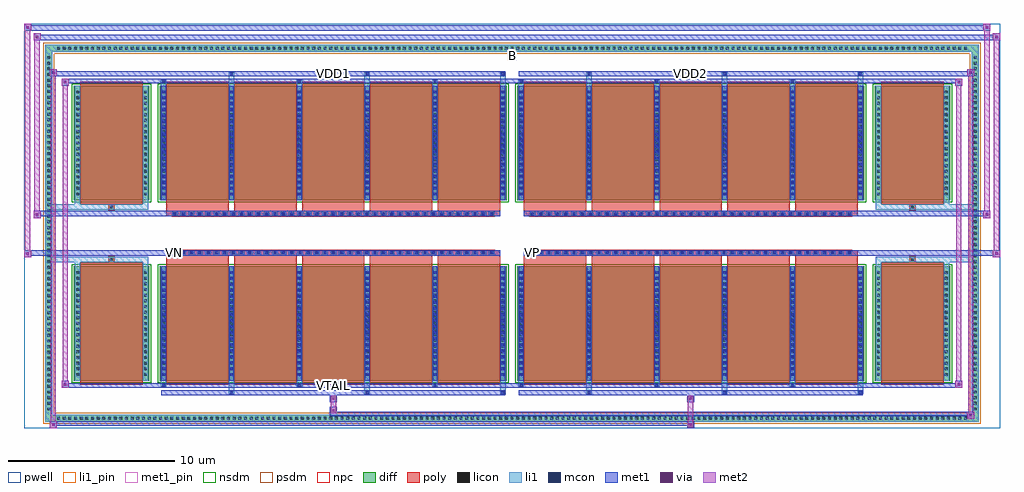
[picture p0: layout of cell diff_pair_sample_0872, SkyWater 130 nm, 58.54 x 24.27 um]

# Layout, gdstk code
import gdstk
lib = gdstk.Library(unit=1e-6, precision=5e-09)
def R(c, l, rs):  # rectangles x0, y0, x1, y1
    for r in rs: c.add(gdstk.rectangle(r[:2], r[2:], *l))
def A(c, l, x, y, w, h, nx, ny, dx, dy):  # array of equal rectangles
    R(c, l, [(x+i*dx, y+j*dy, x+i*dx+w, y+j*dy+h) for i in range(nx) for j in range(ny)])
def P(c, l, *ps):  # polygons
    for p in ps: c.add(gdstk.Polygon(p, *l))
pwell = (64, 44)
diff = (65, 20)
poly = (66, 20)
licon = (66, 44)
li1_pin = (67, 16)
li1 = (67, 20)
mcon = (67, 44)
met1_pin = (68, 16)
met1 = (68, 20)
via = (68, 44)
met2 = (69, 20)
nsdm = (93, 44)
psdm = (94, 20)
npc = (95, 20)

diff_pair_sample_0872 = lib.new_cell('diff_pair_sample_0872')
R(diff_pair_sample_0872, pwell, [(-29.27,-11.7,29.27,12.57), (-26.59,-9.89,-0.01,-0.805), (0.01,-9.89,26.59,-0.805), (-26.59,0.805,-0.01,9.89), (0.01,0.805,26.59,9.89)])
A(diff_pair_sample_0872, diff, -27.405, -11.3, 0.41, 0.41, 161, 2, 0.34, 22.19)
A(diff_pair_sample_0872, diff, -28, -10.745, 0.41, 0.41, 1, 63, 0, 0.34)
A(diff_pair_sample_0872, diff, 27.59, -10.745, 0.41, 0.41, 1, 63, 0, 0.34)
R(diff_pair_sample_0872, diff, [(-27.405,-11.3,27.405,-10.89), (-28,-10.745,-27.59,10.745), (27.59,-10.745,28,10.745), (-26.28,-8.845,-21.76,-1.985), (-21.12,-8.845,-0.32,-1.985), (0.32,-8.845,21.12,-1.985), (21.76,-8.845,26.28,-1.985), (-26.28,1.985,-21.76,8.845), (-21.12,1.985,-0.32,8.845), (0.32,1.985,21.12,8.845), (21.76,1.985,26.28,8.845), (-27.405,10.89,27.405,11.3)])
P(diff_pair_sample_0872, diff, [(28,11.3),(-28,11.3),(-28,-10.89),(-27.59,-10.89),(-27.59,10.89),(27.59,10.89),(27.59,-10.89),(-27.59,-10.89),(-28,-10.89),(-28,-11.3),(28,-11.3)])
A(diff_pair_sample_0872, poly, -20.73, -9.095, 3.74, 7.36, 5, 2, 4.07, 10.83)
A(diff_pair_sample_0872, poly, 0.71, -9.095, 3.74, 7.36, 5, 2, 4.07, 10.83)
A(diff_pair_sample_0872, poly, -20.73, -1.735, 3.74, 0.4, 5, 2, 4.07, 3.07)
A(diff_pair_sample_0872, poly, 0.71, -1.735, 3.74, 0.4, 5, 2, 4.07, 3.07)
A(diff_pair_sample_0872, poly, -20.385, -1.335, 0.33, 0.33, 39, 2, 0.5, 2.34)
A(diff_pair_sample_0872, poly, 1.055, -1.335, 0.33, 0.33, 39, 2, 0.5, 2.34)
R(diff_pair_sample_0872, poly, [(-25.89,-9.095,-22.15,-1.735), (22.15,-9.095,25.89,-1.735), (-24.185,-1.735,-23.855,-1.405), (-24.185,-1.735,-23.855,-1.405), (23.855,-1.735,24.185,-1.405), (23.855,-1.735,24.185,-1.405), (-20.73,-1.335,-0.71,-1.005), (0.71,-1.335,20.73,-1.005), (-20.73,1.005,-0.71,1.335), (0.71,1.005,20.73,1.335), (-24.185,1.405,-23.855,1.735), (-24.185,1.405,-23.855,1.735), (23.855,1.405,24.185,1.735), (23.855,1.405,24.185,1.735), (-25.89,1.735,-22.15,9.095), (22.15,1.735,25.89,9.095)])
A(diff_pair_sample_0872, licon, -27.285, -11.18, 0.17, 0.17, 161, 2, 0.34, 22.19)
A(diff_pair_sample_0872, licon, -27.88, -10.625, 0.17, 0.17, 1, 63, 0, 0.34)
A(diff_pair_sample_0872, licon, 27.71, -10.625, 0.17, 0.17, 1, 63, 0, 0.34)
A(diff_pair_sample_0872, licon, -26.14, -8.56, 0.17, 0.17, 1, 19, 0, 0.34)
A(diff_pair_sample_0872, licon, -22.07, -8.56, 0.17, 0.17, 1, 19, 0, 0.34)
A(diff_pair_sample_0872, licon, -20.98, -8.56, 0.17, 0.17, 6, 19, 4.07, 0.34)
A(diff_pair_sample_0872, licon, 0.46, -8.56, 0.17, 0.17, 6, 19, 4.07, 0.34)
A(diff_pair_sample_0872, licon, 21.9, -8.56, 0.17, 0.17, 1, 19, 0, 0.34)
A(diff_pair_sample_0872, licon, 25.97, -8.56, 0.17, 0.17, 1, 19, 0, 0.34)
A(diff_pair_sample_0872, licon, -20.305, -1.255, 0.17, 0.17, 39, 2, 0.5, 2.34)
A(diff_pair_sample_0872, licon, 1.135, -1.255, 0.17, 0.17, 39, 2, 0.5, 2.34)
A(diff_pair_sample_0872, licon, -26.14, 2.27, 0.17, 0.17, 1, 19, 0, 0.34)
A(diff_pair_sample_0872, licon, -22.07, 2.27, 0.17, 0.17, 1, 19, 0, 0.34)
A(diff_pair_sample_0872, licon, -20.98, 2.27, 0.17, 0.17, 6, 19, 4.07, 0.34)
A(diff_pair_sample_0872, licon, 0.46, 2.27, 0.17, 0.17, 6, 19, 4.07, 0.34)
A(diff_pair_sample_0872, licon, 21.9, 2.27, 0.17, 0.17, 1, 19, 0, 0.34)
A(diff_pair_sample_0872, licon, 25.97, 2.27, 0.17, 0.17, 1, 19, 0, 0.34)
R(diff_pair_sample_0872, licon, [(-24.105,-1.655,-23.935,-1.485), (23.935,-1.655,24.105,-1.485), (-24.105,1.485,-23.935,1.655), (23.935,1.485,24.105,1.655)])
R(diff_pair_sample_0872, li1_pin, [(-0.25,10.39,0.25,10.89)])
A(diff_pair_sample_0872, li1, -27.365, -11.26, 0.33, 0.33, 161, 2, 0.34, 22.19)
A(diff_pair_sample_0872, li1, -27.96, -10.705, 0.33, 0.33, 1, 63, 0, 0.34)
A(diff_pair_sample_0872, li1, 27.63, -10.705, 0.33, 0.33, 1, 63, 0, 0.34)
A(diff_pair_sample_0872, li1, -16.99, -9.65, 0.33, 0.805, 3, 2, 8.14, 18.495)
A(diff_pair_sample_0872, li1, -16.91, -9.65, 0.17, 0.17, 3, 2, 8.14, 19.13)
A(diff_pair_sample_0872, li1, 4.45, -9.65, 0.33, 0.805, 3, 2, 8.14, 18.495)
A(diff_pair_sample_0872, li1, 4.53, -9.65, 0.17, 0.17, 3, 2, 8.14, 19.13)
A(diff_pair_sample_0872, li1, -21.06, -9.22, 0.33, 0.375, 3, 2, 8.14, 18.065)
A(diff_pair_sample_0872, li1, -20.98, -9.22, 0.17, 0.17, 3, 2, 8.14, 18.27)
A(diff_pair_sample_0872, li1, 0.38, -9.22, 0.33, 0.375, 3, 2, 8.14, 18.065)
A(diff_pair_sample_0872, li1, 0.46, -9.22, 0.17, 0.17, 3, 2, 8.14, 18.27)
A(diff_pair_sample_0872, li1, -21.06, -8.845, 0.33, 6.86, 6, 2, 4.07, 10.83)
A(diff_pair_sample_0872, li1, 0.38, -8.845, 0.33, 6.86, 6, 2, 4.07, 10.83)
A(diff_pair_sample_0872, li1, -26.22, -8.64, 0.33, 0.33, 1, 19, 0, 0.34)
A(diff_pair_sample_0872, li1, -22.15, -8.64, 0.33, 0.33, 1, 19, 0, 0.34)
A(diff_pair_sample_0872, li1, -21.06, -8.64, 0.33, 0.33, 6, 19, 4.07, 0.34)
A(diff_pair_sample_0872, li1, 0.38, -8.64, 0.33, 0.33, 6, 19, 4.07, 0.34)
A(diff_pair_sample_0872, li1, 21.82, -8.64, 0.33, 0.33, 1, 19, 0, 0.34)
A(diff_pair_sample_0872, li1, 25.89, -8.64, 0.33, 0.33, 1, 19, 0, 0.34)
A(diff_pair_sample_0872, li1, -20.98, -8.56, 0.17, 0.17, 6, 18, 4.07, 0.36)
A(diff_pair_sample_0872, li1, -20.98, -8.56, 0.17, 6.29, 6, 2, 4.07, 10.83)
A(diff_pair_sample_0872, li1, 0.46, -8.56, 0.17, 0.17, 6, 18, 4.07, 0.36)
A(diff_pair_sample_0872, li1, 0.46, -8.56, 0.17, 6.29, 6, 2, 4.07, 10.83)
A(diff_pair_sample_0872, li1, -20.385, -1.335, 0.33, 0.33, 39, 2, 0.5, 2.34)
A(diff_pair_sample_0872, li1, 1.055, -1.335, 0.33, 0.33, 39, 2, 0.5, 2.34)
A(diff_pair_sample_0872, li1, -26.22, 2.19, 0.33, 0.33, 1, 19, 0, 0.34)
A(diff_pair_sample_0872, li1, -22.15, 2.19, 0.33, 0.33, 1, 19, 0, 0.34)
A(diff_pair_sample_0872, li1, -21.06, 2.19, 0.33, 0.33, 6, 19, 4.07, 0.34)
A(diff_pair_sample_0872, li1, 0.38, 2.19, 0.33, 0.33, 6, 19, 4.07, 0.34)
A(diff_pair_sample_0872, li1, 21.82, 2.19, 0.33, 0.33, 1, 19, 0, 0.34)
A(diff_pair_sample_0872, li1, 25.89, 2.19, 0.33, 0.33, 1, 19, 0, 0.34)
A(diff_pair_sample_0872, li1, -20.98, 2.27, 0.17, 0.17, 6, 18, 4.07, 0.36)
A(diff_pair_sample_0872, li1, 0.46, 2.27, 0.17, 0.17, 6, 18, 4.07, 0.36)
R(diff_pair_sample_0872, li1, [(-28,-11.3,-27.59,-10.89), (-28,-11.3,-27.59,-10.89), (-27.59,-11.3,27.59,-10.89), (27.59,-11.3,28,-10.89), (27.59,-11.3,28,-10.89), (-28,-10.89,-27.59,10.89), (27.59,-10.89,28,10.89), (-26.22,-8.845,-25.89,-1.985), (-22.15,-8.845,-21.82,-1.985), (21.82,-8.845,22.15,-1.985), (25.89,-8.845,26.22,-1.985), (-26.22,-1.985,-25.89,-1.405), (-22.15,-1.985,-21.82,-1.405), (21.82,-1.985,22.15,-1.405), (25.89,-1.985,26.22,-1.405), (-28,-1.735,-24.185,-1.405), (-26.22,-1.735,-24.185,-1.405), (-24.185,-1.735,-23.855,-1.405), (-23.855,-1.735,-21.82,-1.405), (21.82,-1.735,23.855,-1.405), (23.855,-1.735,24.185,-1.405), (23.855,-1.735,28,-1.405), (24.185,-1.735,26.22,-1.405), (-28,1.405,-24.185,1.735), (-26.22,1.405,-24.185,1.735), (-26.22,1.405,-25.89,1.985), (-24.185,1.405,-23.855,1.735), (-23.855,1.405,-21.82,1.735), (-22.15,1.405,-21.82,1.985), (21.82,1.405,23.855,1.735), (21.82,1.405,22.15,1.985), (23.855,1.405,24.185,1.735), (23.855,1.405,28,1.735), (24.185,1.405,26.22,1.735), (25.89,1.405,26.22,1.985), (-26.22,1.985,-25.89,8.845), (-22.15,1.985,-21.82,8.845), (21.82,1.985,22.15,8.845), (25.89,1.985,26.22,8.845), (-28,10.89,-27.59,11.3), (-28,10.89,-27.59,11.3), (-27.59,10.89,27.59,11.3), (27.59,10.89,28,11.3), (27.59,10.89,28,11.3)])
A(diff_pair_sample_0872, mcon, -16.91, -9.65, 0.17, 0.17, 3, 2, 8.14, 19.13)
A(diff_pair_sample_0872, mcon, 4.53, -9.65, 0.17, 0.17, 3, 2, 8.14, 19.13)
A(diff_pair_sample_0872, mcon, -20.98, -9.22, 0.17, 0.17, 3, 2, 8.14, 18.27)
A(diff_pair_sample_0872, mcon, 0.46, -9.22, 0.17, 0.17, 3, 2, 8.14, 18.27)
A(diff_pair_sample_0872, mcon, -20.98, -8.56, 0.17, 0.17, 6, 18, 4.07, 0.36)
A(diff_pair_sample_0872, mcon, 0.46, -8.56, 0.17, 0.17, 6, 18, 4.07, 0.36)
A(diff_pair_sample_0872, mcon, -20.305, -1.255, 0.17, 0.17, 39, 2, 0.5, 2.34)
A(diff_pair_sample_0872, mcon, 1.135, -1.255, 0.17, 0.17, 39, 2, 0.5, 2.34)
A(diff_pair_sample_0872, mcon, -20.98, 2.27, 0.17, 0.17, 6, 18, 4.07, 0.36)
A(diff_pair_sample_0872, mcon, 0.46, 2.27, 0.17, 0.17, 6, 18, 4.07, 0.36)
R(diff_pair_sample_0872, met1_pin, [(-10.855,-9.26,-10.585,-8.99), (-20.355,-1.295,-20.085,-1.025), (1.085,-1.295,1.355,-1.025), (-10.855,9.44,-10.585,9.71), (10.585,9.44,10.855,9.71)])
A(diff_pair_sample_0872, met1, -16.97, -9.71, 0.29, 0.29, 3, 2, 8.14, 19.13)
A(diff_pair_sample_0872, met1, 4.47, -9.71, 0.29, 0.29, 3, 2, 8.14, 19.13)
A(diff_pair_sample_0872, met1, -21.04, -9.28, 0.29, 0.29, 3, 2, 8.14, 18.27)
A(diff_pair_sample_0872, met1, 0.4, -9.28, 0.29, 0.29, 3, 2, 8.14, 18.27)
A(diff_pair_sample_0872, met1, -21.04, -8.845, 0.29, 6.86, 6, 2, 4.07, 10.83)
A(diff_pair_sample_0872, met1, 0.4, -8.845, 0.29, 6.86, 6, 2, 4.07, 10.83)
A(diff_pair_sample_0872, met1, -21.04, -8.62, 0.29, 0.29, 6, 18, 4.07, 0.36)
A(diff_pair_sample_0872, met1, 0.4, -8.62, 0.29, 0.29, 6, 18, 4.07, 0.36)
A(diff_pair_sample_0872, met1, -20.365, -1.315, 0.29, 0.29, 39, 2, 0.5, 2.34)
A(diff_pair_sample_0872, met1, 1.075, -1.315, 0.29, 0.29, 39, 2, 0.5, 2.34)
A(diff_pair_sample_0872, met1, -21.04, 2.21, 0.29, 0.29, 6, 18, 4.07, 0.36)
A(diff_pair_sample_0872, met1, 0.4, 2.21, 0.29, 0.29, 6, 18, 4.07, 0.36)
R(diff_pair_sample_0872, met1, [(-27.73,-11.7,-27.3,-11.27), (10.505,-11.7,10.935,-11.27), (-27.73,-11.56,10.935,-11.27), (27.3,-11.13,27.73,-10.7), (-10.935,-10.99,27.73,-10.7), (-10.935,-10.85,-10.505,-10.42), (-10.935,-10.14,-10.505,-9.71), (10.505,-10.14,10.935,-9.71), (-21.04,-9.71,-0.4,-9.42), (0.4,-9.71,21.04,-9.42), (-27.02,-9.28,-26.59,-8.85), (-27.02,-9.28,-21.04,-8.99), (-21.04,-9.28,-0.4,-8.99), (-0.4,-9.28,0.4,-8.99), (0.4,-9.28,21.04,-8.99), (21.04,-9.28,27.02,-8.99), (26.59,-9.28,27.02,-8.85), (-29.27,-1.435,-28.84,-1.005), (28.84,-1.435,29.27,-1.005), (-29.27,-1.335,-0.71,-1.005), (-20.73,-1.335,-0.71,-1.005), (0.71,-1.335,20.73,-1.005), (0.71,-1.335,29.27,-1.005), (-28.7,0.905,-28.27,1.335), (28.27,0.905,28.7,1.335), (-28.7,1.005,-20.73,1.335), (-20.73,1.005,-0.71,1.335), (0.71,1.005,20.73,1.335), (20.73,1.005,28.7,1.335), (-27.02,8.85,-26.59,9.28), (26.59,8.85,27.02,9.28), (-27.02,8.99,-21.04,9.28), (-21.04,8.99,-0.4,9.28), (-0.4,8.99,0.4,9.28), (0.4,8.99,21.04,9.28), (21.04,8.99,27.02,9.28), (-27.73,9.42,-27.3,9.85), (-27.73,9.42,-21.04,9.71), (-21.04,9.42,-0.4,9.71), (0.4,9.42,21.04,9.71), (21.04,9.42,27.73,9.71), (27.3,9.42,27.73,9.85), (-28.7,11.57,-28.27,12), (-28.7,11.57,-26.59,11.9), (-26.59,11.57,26.59,11.9), (26.59,11.57,29.27,11.9), (28.84,11.57,29.27,12), (-29.27,12.14,-28.84,12.57), (-29.27,12.14,-26.59,12.47), (-26.59,12.14,26.59,12.47), (26.59,12.14,28.7,12.47), (28.27,12.14,28.7,12.57)])
R(diff_pair_sample_0872, via, [(-27.59,-11.56,-27.44,-11.41), (10.645,-11.56,10.795,-11.41), (27.44,-10.99,27.59,-10.84), (-10.795,-10.71,-10.645,-10.56), (-10.795,-10,-10.645,-9.85), (10.645,-10,10.795,-9.85), (-26.88,-9.14,-26.73,-8.99), (26.73,-9.14,26.88,-8.99), (-29.13,-1.295,-28.98,-1.145), (28.98,-1.295,29.13,-1.145), (-28.56,1.045,-28.41,1.195), (28.41,1.045,28.56,1.195), (-26.88,8.99,-26.73,9.14), (26.73,8.99,26.88,9.14), (-27.59,9.56,-27.44,9.71), (27.44,9.56,27.59,9.71), (-28.56,11.71,-28.41,11.86), (28.98,11.71,29.13,11.86), (-29.13,12.28,-28.98,12.43), (28.41,12.28,28.56,12.43)])
R(diff_pair_sample_0872, met2, [(-27.73,-11.7,-27.3,-11.27), (-27.66,-11.7,-27.37,9.85), (-27.37,-11.7,-27.3,-11.27), (-27.68,-11.65,-27.35,-11.32), (10.555,-11.65,10.885,-11.32), (10.555,-11.32,10.885,-10.09), (27.3,-11.13,27.73,-10.7), (27.37,-11.13,27.66,9.85), (27.66,-11.13,27.73,-10.7), (27.35,-11.08,27.68,-10.75), (-10.885,-10.8,-10.555,-10.47), (-10.885,-10.47,-10.555,-10.09), (-10.885,-10.09,-10.555,-9.76), (10.555,-10.09,10.885,-9.76), (-27.02,-9.28,-26.59,-8.85), (-26.95,-9.28,-26.66,9.28), (-26.66,-9.28,-26.59,-8.85), (26.59,-9.28,27.02,-8.85), (26.66,-9.28,26.95,9.28), (26.95,-9.28,27.02,-8.85), (-26.97,-9.23,-26.64,-8.9), (26.64,-9.23,26.97,-8.9), (-29.27,-1.435,-28.84,-1.005), (-29.22,-1.435,-28.89,12.57), (-28.89,-1.435,-28.84,-1.005), (28.84,-1.435,29.27,-1.005), (28.89,-1.435,29.22,12), (29.22,-1.435,29.27,-1.005), (-29.22,-1.385,-28.89,-1.055), (28.89,-1.385,29.22,-1.055), (-28.7,0.905,-28.27,1.335), (-28.65,0.905,-28.32,12), (-28.32,0.905,-28.27,1.335), (28.27,0.905,28.7,1.335), (28.32,0.905,28.65,12.57), (28.65,0.905,28.7,1.335), (-28.65,0.955,-28.32,1.285), (28.32,0.955,28.65,1.285), (-27.02,8.85,-26.59,9.28), (-26.66,8.85,-26.59,9.28), (26.59,8.85,27.02,9.28), (26.95,8.85,27.02,9.28), (-26.97,8.9,-26.64,9.23), (26.64,8.9,26.97,9.23), (-27.73,9.42,-27.3,9.85), (-27.37,9.42,-27.3,9.85), (27.3,9.42,27.73,9.85), (27.66,9.42,27.73,9.85), (-27.68,9.47,-27.35,9.8), (27.35,9.47,27.68,9.8), (-28.7,11.57,-28.27,12), (-28.32,11.57,-28.27,12), (28.84,11.57,29.27,12), (29.22,11.57,29.27,12), (-28.65,11.62,-28.32,11.95), (28.89,11.62,29.22,11.95), (-29.27,12.14,-28.84,12.57), (-28.89,12.14,-28.84,12.57), (28.27,12.14,28.7,12.57), (28.65,12.14,28.7,12.57), (-29.22,12.19,-28.89,12.52), (28.32,12.19,28.65,12.52)])
R(diff_pair_sample_0872, nsdm, [(-26.41,-8.975,-21.63,-1.855), (-21.25,-8.975,-0.19,-1.855), (0.19,-8.975,21.25,-1.855), (21.63,-8.975,26.41,-1.855), (-26.41,1.855,-21.63,8.975), (-21.25,1.855,-0.19,8.975), (0.19,1.855,21.25,8.975), (21.63,1.855,26.41,8.975)])
P(diff_pair_sample_0872, psdm, [(28.13,11.43),(-28.13,11.43),(-28.13,-10.76),(-27.46,-10.76),(-27.46,10.76),(27.46,10.76),(27.46,-10.76),(-27.46,-10.76),(-28.13,-10.76),(-28.13,-11.43),(28.13,-11.43)])
A(diff_pair_sample_0872, npc, -20.405, -1.355, 0.37, 0.37, 39, 2, 0.5, 2.34)
A(diff_pair_sample_0872, npc, 1.035, -1.355, 0.37, 0.37, 39, 2, 0.5, 2.34)
R(diff_pair_sample_0872, npc, [(-24.205,-1.755,-23.835,-1.385), (23.835,-1.755,24.205,-1.385), (-20.405,-1.355,-19.535,-0.985), (-20.405,-1.355,-19.535,-0.985), (-19.905,-1.355,-19.035,-0.985), (-19.905,-1.355,-19.035,-0.985), (-19.405,-1.355,-18.535,-0.985), (-19.405,-1.355,-18.535,-0.985), (-18.905,-1.355,-18.035,-0.985), (-18.905,-1.355,-18.035,-0.985), (-18.405,-1.355,-17.535,-0.985), (-18.405,-1.355,-17.535,-0.985), (-17.905,-1.355,-17.035,-0.985), (-17.905,-1.355,-17.035,-0.985), (-17.405,-1.355,-16.535,-0.985), (-17.405,-1.355,-16.535,-0.985), (-16.905,-1.355,-16.035,-0.985), (-16.905,-1.355,-16.035,-0.985), (-16.405,-1.355,-15.535,-0.985), (-16.405,-1.355,-15.535,-0.985), (-15.905,-1.355,-15.035,-0.985), (-15.905,-1.355,-15.035,-0.985), (-15.405,-1.355,-14.535,-0.985), (-15.405,-1.355,-14.535,-0.985), (-14.905,-1.355,-14.035,-0.985), (-14.905,-1.355,-14.035,-0.985), (-14.405,-1.355,-13.535,-0.985), (-14.405,-1.355,-13.535,-0.985), (-13.905,-1.355,-13.035,-0.985), (-13.905,-1.355,-13.035,-0.985), (-13.405,-1.355,-12.535,-0.985), (-13.405,-1.355,-12.535,-0.985), (-12.905,-1.355,-12.035,-0.985), (-12.905,-1.355,-12.035,-0.985), (-12.405,-1.355,-11.535,-0.985), (-12.405,-1.355,-11.535,-0.985), (-11.905,-1.355,-11.035,-0.985), (-11.905,-1.355,-11.035,-0.985), (-11.405,-1.355,-10.535,-0.985), (-11.405,-1.355,-10.535,-0.985), (-10.905,-1.355,-10.035,-0.985), (-10.905,-1.355,-10.035,-0.985), (-10.405,-1.355,-9.535,-0.985), (-10.405,-1.355,-9.535,-0.985), (-9.905,-1.355,-9.035,-0.985), (-9.905,-1.355,-9.035,-0.985), (-9.405,-1.355,-8.535,-0.985), (-9.405,-1.355,-8.535,-0.985), (-8.905,-1.355,-8.035,-0.985), (-8.905,-1.355,-8.035,-0.985), (-8.405,-1.355,-7.535,-0.985), (-8.405,-1.355,-7.535,-0.985), (-7.905,-1.355,-7.035,-0.985), (-7.905,-1.355,-7.035,-0.985), (-7.405,-1.355,-6.535,-0.985), (-7.405,-1.355,-6.535,-0.985), (-6.905,-1.355,-6.035,-0.985), (-6.905,-1.355,-6.035,-0.985), (-6.405,-1.355,-5.535,-0.985), (-6.405,-1.355,-5.535,-0.985), (-5.905,-1.355,-5.035,-0.985), (-5.905,-1.355,-5.035,-0.985), (-5.405,-1.355,-4.535,-0.985), (-5.405,-1.355,-4.535,-0.985), (-4.905,-1.355,-4.035,-0.985), (-4.905,-1.355,-4.035,-0.985), (-4.405,-1.355,-3.535,-0.985), (-4.405,-1.355,-3.535,-0.985), (-3.905,-1.355,-3.035,-0.985), (-3.905,-1.355,-3.035,-0.985), (-3.405,-1.355,-2.535,-0.985), (-3.405,-1.355,-2.535,-0.985), (-2.905,-1.355,-2.035,-0.985), (-2.905,-1.355,-2.035,-0.985), (-2.405,-1.355,-1.535,-0.985), (-2.405,-1.355,-1.535,-0.985), (-1.905,-1.355,-1.035,-0.985), (-1.905,-1.355,-1.035,-0.985), (1.035,-1.355,1.905,-0.985), (1.035,-1.355,1.905,-0.985), (1.535,-1.355,2.405,-0.985), (1.535,-1.355,2.405,-0.985), (2.035,-1.355,2.905,-0.985), (2.035,-1.355,2.905,-0.985), (2.535,-1.355,3.405,-0.985), (2.535,-1.355,3.405,-0.985), (3.035,-1.355,3.905,-0.985), (3.035,-1.355,3.905,-0.985), (3.535,-1.355,4.405,-0.985), (3.535,-1.355,4.405,-0.985), (4.035,-1.355,4.905,-0.985), (4.035,-1.355,4.905,-0.985), (4.535,-1.355,5.405,-0.985), (4.535,-1.355,5.405,-0.985), (5.035,-1.355,5.905,-0.985), (5.035,-1.355,5.905,-0.985), (5.535,-1.355,6.405,-0.985), (5.535,-1.355,6.405,-0.985), (6.035,-1.355,6.905,-0.985), (6.035,-1.355,6.905,-0.985), (6.535,-1.355,7.405,-0.985), (6.535,-1.355,7.405,-0.985), (7.035,-1.355,7.905,-0.985), (7.035,-1.355,7.905,-0.985), (7.535,-1.355,8.405,-0.985), (7.535,-1.355,8.405,-0.985), (8.035,-1.355,8.905,-0.985), (8.035,-1.355,8.905,-0.985), (8.535,-1.355,9.405,-0.985), (8.535,-1.355,9.405,-0.985), (9.035,-1.355,9.905,-0.985), (9.035,-1.355,9.905,-0.985), (9.535,-1.355,10.405,-0.985), (9.535,-1.355,10.405,-0.985), (10.035,-1.355,10.905,-0.985), (10.035,-1.355,10.905,-0.985), (10.535,-1.355,11.405,-0.985), (10.535,-1.355,11.405,-0.985), (11.035,-1.355,11.905,-0.985), (11.035,-1.355,11.905,-0.985), (11.535,-1.355,12.405,-0.985), (11.535,-1.355,12.405,-0.985), (12.035,-1.355,12.905,-0.985), (12.035,-1.355,12.905,-0.985), (12.535,-1.355,13.405,-0.985), (12.535,-1.355,13.405,-0.985), (13.035,-1.355,13.905,-0.985), (13.035,-1.355,13.905,-0.985), (13.535,-1.355,14.405,-0.985), (13.535,-1.355,14.405,-0.985), (14.035,-1.355,14.905,-0.985), (14.035,-1.355,14.905,-0.985), (14.535,-1.355,15.405,-0.985), (14.535,-1.355,15.405,-0.985), (15.035,-1.355,15.905,-0.985), (15.035,-1.355,15.905,-0.985), (15.535,-1.355,16.405,-0.985), (15.535,-1.355,16.405,-0.985), (16.035,-1.355,16.905,-0.985), (16.035,-1.355,16.905,-0.985), (16.535,-1.355,17.405,-0.985), (16.535,-1.355,17.405,-0.985), (17.035,-1.355,17.905,-0.985), (17.035,-1.355,17.905,-0.985), (17.535,-1.355,18.405,-0.985), (17.535,-1.355,18.405,-0.985), (18.035,-1.355,18.905,-0.985), (18.035,-1.355,18.905,-0.985), (18.535,-1.355,19.405,-0.985), (18.535,-1.355,19.405,-0.985), (19.035,-1.355,19.905,-0.985), (19.035,-1.355,19.905,-0.985), (19.535,-1.355,20.405,-0.985), (19.535,-1.355,20.405,-0.985), (-20.405,0.985,-19.535,1.355), (-20.405,0.985,-19.535,1.355), (-19.905,0.985,-19.035,1.355), (-19.905,0.985,-19.035,1.355), (-19.405,0.985,-18.535,1.355), (-19.405,0.985,-18.535,1.355), (-18.905,0.985,-18.035,1.355), (-18.905,0.985,-18.035,1.355), (-18.405,0.985,-17.535,1.355), (-18.405,0.985,-17.535,1.355), (-17.905,0.985,-17.035,1.355), (-17.905,0.985,-17.035,1.355), (-17.405,0.985,-16.535,1.355), (-17.405,0.985,-16.535,1.355), (-16.905,0.985,-16.035,1.355), (-16.905,0.985,-16.035,1.355), (-16.405,0.985,-15.535,1.355), (-16.405,0.985,-15.535,1.355), (-15.905,0.985,-15.035,1.355), (-15.905,0.985,-15.035,1.355), (-15.405,0.985,-14.535,1.355), (-15.405,0.985,-14.535,1.355), (-14.905,0.985,-14.035,1.355), (-14.905,0.985,-14.035,1.355), (-14.405,0.985,-13.535,1.355), (-14.405,0.985,-13.535,1.355), (-13.905,0.985,-13.035,1.355), (-13.905,0.985,-13.035,1.355), (-13.405,0.985,-12.535,1.355), (-13.405,0.985,-12.535,1.355), (-12.905,0.985,-12.035,1.355), (-12.905,0.985,-12.035,1.355), (-12.405,0.985,-11.535,1.355), (-12.405,0.985,-11.535,1.355), (-11.905,0.985,-11.035,1.355), (-11.905,0.985,-11.035,1.355), (-11.405,0.985,-10.535,1.355), (-11.405,0.985,-10.535,1.355), (-10.905,0.985,-10.035,1.355), (-10.905,0.985,-10.035,1.355), (-10.405,0.985,-9.535,1.355), (-10.405,0.985,-9.535,1.355), (-9.905,0.985,-9.035,1.355), (-9.905,0.985,-9.035,1.355), (-9.405,0.985,-8.535,1.355), (-9.405,0.985,-8.535,1.355), (-8.905,0.985,-8.035,1.355), (-8.905,0.985,-8.035,1.355), (-8.405,0.985,-7.535,1.355), (-8.405,0.985,-7.535,1.355), (-7.905,0.985,-7.035,1.355), (-7.905,0.985,-7.035,1.355), (-7.405,0.985,-6.535,1.355), (-7.405,0.985,-6.535,1.355), (-6.905,0.985,-6.035,1.355), (-6.905,0.985,-6.035,1.355), (-6.405,0.985,-5.535,1.355), (-6.405,0.985,-5.535,1.355), (-5.905,0.985,-5.035,1.355), (-5.905,0.985,-5.035,1.355), (-5.405,0.985,-4.535,1.355), (-5.405,0.985,-4.535,1.355), (-4.905,0.985,-4.035,1.355), (-4.905,0.985,-4.035,1.355), (-4.405,0.985,-3.535,1.355), (-4.405,0.985,-3.535,1.355), (-3.905,0.985,-3.035,1.355), (-3.905,0.985,-3.035,1.355), (-3.405,0.985,-2.535,1.355), (-3.405,0.985,-2.535,1.355), (-2.905,0.985,-2.035,1.355), (-2.905,0.985,-2.035,1.355), (-2.405,0.985,-1.535,1.355), (-2.405,0.985,-1.535,1.355), (-1.905,0.985,-1.035,1.355), (-1.905,0.985,-1.035,1.355), (1.035,0.985,1.905,1.355), (1.035,0.985,1.905,1.355), (1.535,0.985,2.405,1.355), (1.535,0.985,2.405,1.355), (2.035,0.985,2.905,1.355), (2.035,0.985,2.905,1.355), (2.535,0.985,3.405,1.355), (2.535,0.985,3.405,1.355), (3.035,0.985,3.905,1.355), (3.035,0.985,3.905,1.355), (3.535,0.985,4.405,1.355), (3.535,0.985,4.405,1.355), (4.035,0.985,4.905,1.355), (4.035,0.985,4.905,1.355), (4.535,0.985,5.405,1.355), (4.535,0.985,5.405,1.355), (5.035,0.985,5.905,1.355), (5.035,0.985,5.905,1.355), (5.535,0.985,6.405,1.355), (5.535,0.985,6.405,1.355), (6.035,0.985,6.905,1.355), (6.035,0.985,6.905,1.355), (6.535,0.985,7.405,1.355), (6.535,0.985,7.405,1.355), (7.035,0.985,7.905,1.355), (7.035,0.985,7.905,1.355), (7.535,0.985,8.405,1.355), (7.535,0.985,8.405,1.355), (8.035,0.985,8.905,1.355), (8.035,0.985,8.905,1.355), (8.535,0.985,9.405,1.355), (8.535,0.985,9.405,1.355), (9.035,0.985,9.905,1.355), (9.035,0.985,9.905,1.355), (9.535,0.985,10.405,1.355), (9.535,0.985,10.405,1.355), (10.035,0.985,10.905,1.355), (10.035,0.985,10.905,1.355), (10.535,0.985,11.405,1.355), (10.535,0.985,11.405,1.355), (11.035,0.985,11.905,1.355), (11.035,0.985,11.905,1.355), (11.535,0.985,12.405,1.355), (11.535,0.985,12.405,1.355), (12.035,0.985,12.905,1.355), (12.035,0.985,12.905,1.355), (12.535,0.985,13.405,1.355), (12.535,0.985,13.405,1.355), (13.035,0.985,13.905,1.355), (13.035,0.985,13.905,1.355), (13.535,0.985,14.405,1.355), (13.535,0.985,14.405,1.355), (14.035,0.985,14.905,1.355), (14.035,0.985,14.905,1.355), (14.535,0.985,15.405,1.355), (14.535,0.985,15.405,1.355), (15.035,0.985,15.905,1.355), (15.035,0.985,15.905,1.355), (15.535,0.985,16.405,1.355), (15.535,0.985,16.405,1.355), (16.035,0.985,16.905,1.355), (16.035,0.985,16.905,1.355), (16.535,0.985,17.405,1.355), (16.535,0.985,17.405,1.355), (17.035,0.985,17.905,1.355), (17.035,0.985,17.905,1.355), (17.535,0.985,18.405,1.355), (17.535,0.985,18.405,1.355), (18.035,0.985,18.905,1.355), (18.035,0.985,18.905,1.355), (18.535,0.985,19.405,1.355), (18.535,0.985,19.405,1.355), (19.035,0.985,19.905,1.355), (19.035,0.985,19.905,1.355), (19.535,0.985,20.405,1.355), (19.535,0.985,20.405,1.355), (-24.205,1.385,-23.835,1.755), (23.835,1.385,24.205,1.755)])
diff_pair_sample_0872.add(gdstk.Label('VTAIL', (-10.72,-9.125), layer=68, texttype=5))
diff_pair_sample_0872.add(gdstk.Label('VN', (-20.22,-1.16), layer=68, texttype=5))
diff_pair_sample_0872.add(gdstk.Label('VP', (1.22,-1.16), layer=68, texttype=5))
diff_pair_sample_0872.add(gdstk.Label('B', (0,10.64), layer=67, texttype=5))
diff_pair_sample_0872.add(gdstk.Label('VDD2', (10.72,9.575), layer=68, texttype=5))
diff_pair_sample_0872.add(gdstk.Label('VDD1', (-10.72,9.575), layer=68, texttype=5))

lib.write_gds('diff_pair_sample_0872.gds')
